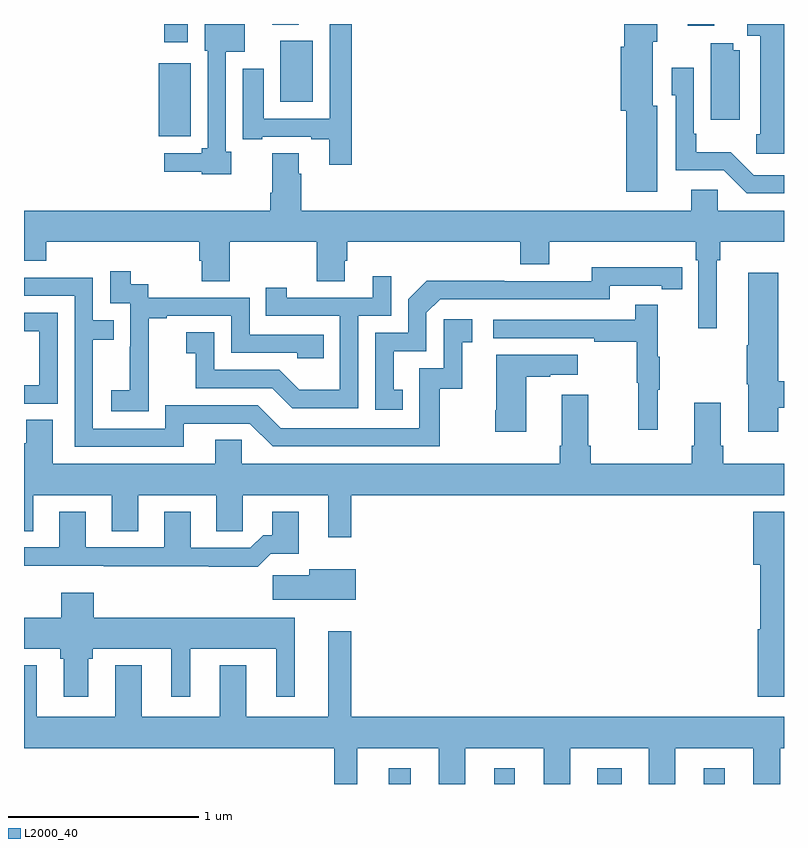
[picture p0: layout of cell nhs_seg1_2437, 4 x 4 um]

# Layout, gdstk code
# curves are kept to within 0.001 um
import gdstk
lib = gdstk.Library(unit=1e-6, precision=1e-09)
def R(c, l, rs):  # rectangles x0, y0, x1, y1
    for r in rs: c.add(gdstk.rectangle(r[:2], r[2:], *l))
def P(c, l, *ps):  # polygons
    for p in ps: c.add(gdstk.Polygon(p, *l))
L2000_40 = (2000, 40)

nhs_seg1_2437 = lib.new_cell('nhs_seg1_2437')
R(nhs_seg1_2437, L2000_40, [(244.919,562.199,245.035,562.282), (245.474,562.199,245.584,562.282), (246.017,562.199,246.145,562.282), (246.578,562.199,246.688,562.282), (243.71,565.607,243.877,565.993), (244.349,565.79,244.519,566.11), (243.737,566.103,243.862,566.199), (246.494,566.19,246.634,566.199), (244.307,566.195,244.447,566.199)])
P(nhs_seg1_2437, L2000_40, [(247,566.199),(246.807,566.199),(246.807,566.136),(246.875,566.136),(246.875,565.62),(246.853,565.62),(246.853,565.515),(247,565.515)],
  [(244.09,565.527),(244.062,565.527),(244.062,566.054),(244.162,566.054),(244.162,566.199),(243.95,566.199),(243.95,566.058),(243.966,566.058),(243.966,565.546),(243.936,565.546),(243.936,565.518),(243.738,565.518),(243.738,565.421),(243.936,565.421),(243.936,565.409),(244.09,565.409)],
  [(244.724,566.199),(244.608,566.199),(244.608,565.701),(244.261,565.701),(244.261,565.963),(244.151,565.963),(244.151,565.593),(244.255,565.593),(244.255,565.605),(244.511,565.605),(244.511,565.593),(244.607,565.593),(244.607,565.458),(244.724,565.458)],
  [(246.334,565.77),(246.31,565.77),(246.31,566.106),(246.334,566.106),(246.334,566.199),(246.158,566.199),(246.158,566.079),(246.14,566.079),(246.14,565.743),(246.17,565.743),(246.17,565.317),(246.334,565.317)],
  [(246.766,566.062),(246.734,566.062),(246.734,566.099),(246.614,566.099),(246.614,565.695),(246.766,565.695)],
  [(247,565.404),(246.84,565.404),(246.719,565.525),(246.538,565.525),(246.538,565.621),(246.525,565.621),(246.525,565.969),(246.408,565.969),(246.408,565.824),(246.429,565.824),(246.429,565.428),(246.684,565.428),(246.804,565.308),(247,565.308)],
  [(246.646,564.956),(246.665,564.956),(246.665,565.052),(247,565.052),(247,565.216),(246.651,565.216),(246.651,565.326),(246.512,565.326),(246.512,565.216),(244.46,565.216),(244.46,565.412),(244.447,565.412),(244.447,565.52),(244.307,565.52),(244.307,565.312),(244.295,565.312),(244.295,565.216),(243,565.216),(243,564.953),(243.116,564.953),(243.116,565.052),(243.923,565.052),(243.923,564.954),(243.935,564.954),(243.935,564.844),(244.083,564.844),(244.083,565.052),(244.54,565.052),(244.54,564.844),(244.687,564.844),(244.687,564.954),(244.7,564.954),(244.7,565.052),(245.612,565.052),(245.612,564.935),(245.764,564.935),(245.764,565.052),(246.536,565.052),(246.536,564.956),(246.549,564.956),(246.549,564.597),(246.646,564.597)],
  [(244.994,564.273),(244.945,564.273),(244.945,564.477),(245.118,564.477),(245.118,564.678),(245.19,564.75),(246.084,564.75),(246.084,564.822),(246.356,564.822),(246.356,564.802),(246.464,564.802),(246.464,564.918),(245.988,564.919),(245.988,564.846),(245.528,564.846),(245.528,564.848),(245.12,564.848),(245.022,564.75),(245.022,564.573),(244.848,564.573),(244.848,564.168),(244.994,564.168)],
  [(243.657,564.367),(243.656,564.367),(243.656,564.651),(243.751,564.651),(243.751,564.663),(244.092,564.663),(244.092,564.468),(244.437,564.468),(244.437,564.441),(244.577,564.441),(244.577,564.564),(244.188,564.564),(244.188,564.759),(243.654,564.759),(243.654,564.828),(243.562,564.828),(243.562,564.898),(243.453,564.898),(243.453,564.729),(243.558,564.729),(243.558,564.5),(243.557,564.5),(243.557,564.271),(243.459,564.271),(243.459,564.161),(243.657,564.161)],
  [(246.971,564.178),(247,564.178),(247,564.32),(246.971,564.32),(246.971,564.889),(246.812,564.889),(246.812,564.509),(246.805,564.509),(246.805,564.303),(246.812,564.303),(246.812,564.054),(246.971,564.054)],
  [(244.758,564.663),(244.932,564.663),(244.932,564.871),(244.835,564.871),(244.835,564.759),(244.384,564.759),(244.384,564.811),(244.273,564.811),(244.273,564.663),(244.662,564.663),(244.662,564.274),(244.448,564.274),(244.344,564.378),(244.002,564.378),(244.002,564.577),(243.855,564.577),(243.855,564.467),(243.904,564.467),(243.904,564.282),(244.307,564.282),(244.412,564.177),(244.758,564.177)],
  [(243.841,564.096),(244.188,564.096),(244.308,563.976),(245.188,563.976),(245.188,564.279),(245.306,564.279),(245.306,564.525),(245.359,564.525),(245.359,564.646),(245.208,564.646),(245.208,564.387),(245.079,564.387),(245.079,564.072),(244.35,564.072),(244.23,564.192),(243.744,564.192),(243.744,564.069),(243.363,564.069),(243.363,564.538),(243.473,564.538),(243.473,564.639),(243.363,564.639),(243.363,564.864),(243,564.864),(243,564.768),(243.267,564.768),(243.267,563.973),(243.841,563.973)],
  [(246.335,564.275),(246.346,564.275),(246.346,564.449),(246.335,564.449),(246.335,564.721),(246.217,564.721),(246.217,564.642),(245.469,564.642),(245.469,564.546),(246.001,564.546),(246.001,564.526),(246.225,564.526),(246.225,564.312),(246.232,564.312),(246.232,564.063),(246.335,564.063)],
  [(243.177,564.678),(243,564.678),(243,564.582),(243.081,564.582),(243.081,564.297),(243,564.297),(243,564.201),(243.177,564.201)],
  [(245.644,564.343),(245.771,564.343),(245.771,564.353),(245.914,564.353),(245.914,564.457),(245.486,564.457),(245.486,564.166),(245.479,564.166),(245.479,564.054),(245.644,564.054)],
  [(243.012,564.116),(243.012,563.993),(243,563.993),(243,563.53),(243.049,563.53),(243.049,563.72),(243.461,563.72),(243.461,563.53),(243.601,563.53),(243.601,563.72),(244.013,563.72),(244.013,563.53),(244.152,563.53),(244.152,563.72),(244.601,563.72),(244.601,563.499),(244.723,563.499),(244.723,563.72),(247,563.72),(247,563.884),(246.68,563.884),(246.68,563.98),(246.667,563.98),(246.667,564.205),(246.527,564.205),(246.527,563.98),(246.515,563.98),(246.515,563.884),(245.984,563.884),(245.984,563.98),(245.971,563.98),(245.971,564.247),(245.831,564.247),(245.831,563.98),(245.819,563.98),(245.819,563.884),(244.146,563.884),(244.146,564.011),(244.007,564.011),(244.007,563.884),(243.151,563.884),(243.151,564.116)],
  [(244.298,563.411),(244.447,563.411),(244.447,563.632),(244.307,563.632),(244.307,563.509),(244.258,563.509),(244.191,563.442),(243.877,563.442),(243.877,563.632),(243.737,563.632),(243.737,563.445),(243.325,563.445),(243.325,563.632),(243.185,563.632),(243.185,563.445),(243,563.445),(243,563.348),(243.421,563.348),(243.421,563.344),(243.973,563.344),(243.973,563.342),(244.229,563.342)],
  [(247,563.632),(246.839,563.632),(246.839,563.352),(246.875,563.352),(246.875,563.014),(246.863,563.014),(246.863,562.659),(247,562.659)],
  [(244.747,563.329),(244.502,563.329),(244.502,563.297),(244.308,563.297),(244.308,563.168),(244.747,563.168)],
  [(243.337,562.857),(243.363,562.857),(243.363,562.91),(243.776,562.91),(243.776,562.659),(243.874,562.659),(243.874,562.91),(244.328,562.91),(244.328,562.659),(244.426,562.659),(244.426,563.074),(243.368,563.074),(243.368,563.206),(243.197,563.206),(243.197,563.074),(243,563.074),(243,562.91),(243.19,562.91),(243.19,562.857),(243.209,562.857),(243.209,562.659),(243.337,562.659)],
  [(244.753,562.388),(245.183,562.388),(245.183,562.199),(245.323,562.199),(245.323,562.388),(245.735,562.388),(245.735,562.199),(245.875,562.199),(245.875,562.388),(246.287,562.388),(246.287,562.199),(246.427,562.199),(246.427,562.388),(246.839,562.388),(246.839,562.199),(246.979,562.199),(246.979,562.388),(247,562.388),(247,562.552),(244.723,562.552),(244.723,563.002),(244.601,563.002),(244.601,562.552),(244.171,562.552),(244.171,562.825),(244.031,562.825),(244.031,562.552),(243.619,562.552),(243.619,562.825),(243.479,562.825),(243.479,562.552),(243.067,562.552),(243.067,562.825),(243,562.825),(243,562.388),(244.632,562.388),(244.632,562.199),(244.753,562.199)])

lib.write_gds('nhs_seg1_2437.gds')
